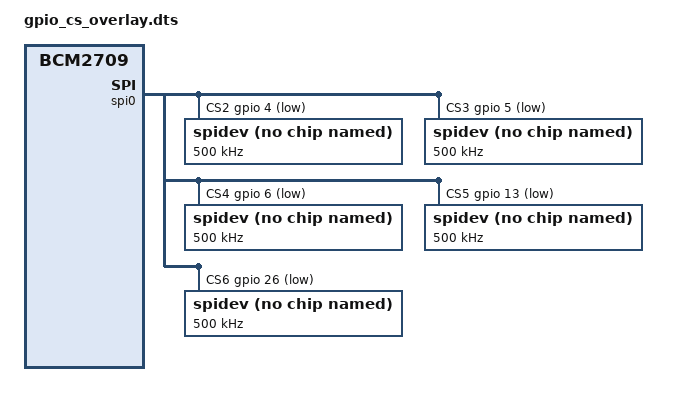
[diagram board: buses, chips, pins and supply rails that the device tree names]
/dts-v1/;
/plugin/;

/ {
   compatible = "brcm,bcm2835", "brcm,bcm2836", "brcm,bcm2708", "brcm,bcm2709";

   fragment@0 {
      target = <&spi0>;
      frag0: __overlay__ {
         #address-cells = <1>;
         #size-cells = <0>;
         pinctrl-0 = <&spi0_pins &spi0_cs_pins>;
         status = "okay";
         cs-gpios = <0>, <0>, <&gpio 4 1>, <&gpio 5 1>, <&gpio 6 1>, <&gpio 13 1>, <&gpio 26 1>;

         spidev@2{
            compatible = "spidev";
            reg = <2>;   /* CE2 */
            #address-cells = <1>;
            #size-cells = <0>;
            spi-max-frequency = <0x0007a120>;
         };

         spidev@3{
            compatible = "spidev";
            reg = <3>;   /* CE3 */
            #address-cells = <1>;
            #size-cells = <0>;
            spi-max-frequency = <0x0007a120>;
         };
		 
	     spidev@4{
            compatible = "spidev";
            reg = <4>;   /* CE4 */
            #address-cells = <1>;
            #size-cells = <0>;
            spi-max-frequency = <0x0007a120>;
         };

         spidev@5{
            compatible = "spidev";
            reg = <5>;   /* CE5 */
            #address-cells = <1>;
            #size-cells = <0>;
            spi-max-frequency = <0x0007a120>;
         };
		 
		 spidev@6{
            compatible = "spidev";
            reg = <6>;   /* CE6 */
            #address-cells = <1>;
            #size-cells = <0>;
            spi-max-frequency = <0x0007a120>;
         };
      };
   };

   fragment@1 {
      target = <&gpio>;
      __overlay__ {
         spi0_cs_pins: spi0_cs_pins {
            brcm,pins = <4 5 6 13 26>; 
            brcm,function = <1 1 1 1 1>; /* out */
		    brcm,pull = <0 0 0 0 0>;     /* 2:up 1:down 0:none */
		    brcm,state = <1 1 1 1 1>;    /* set output to high */
         };
      };
   };
};
